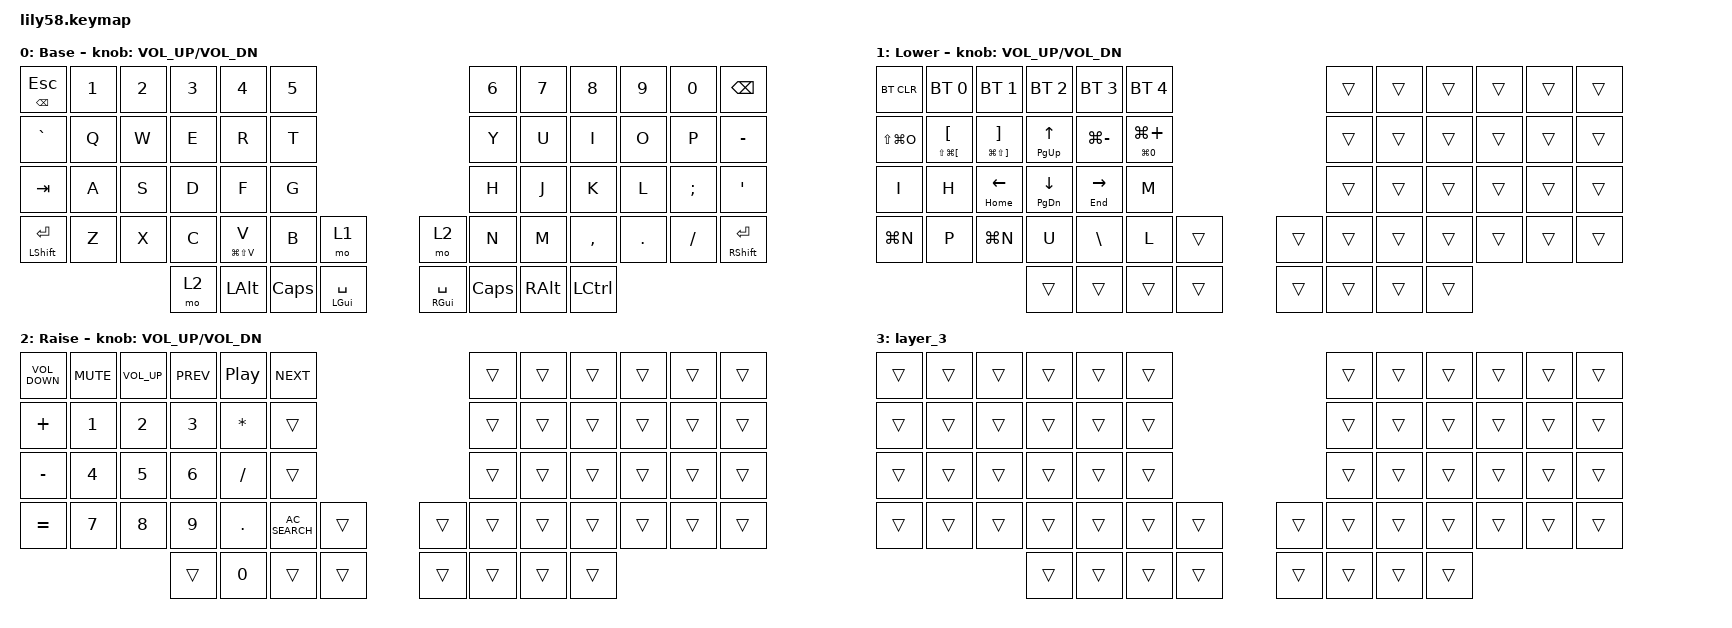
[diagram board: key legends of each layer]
/*
 * Copyright (c) 2020 The ZMK Contributors
 *
 * SPDX-License-Identifier: MIT
 */

#include <behaviors.dtsi>
#include <dt-bindings/zmk/bt.h>
#include <dt-bindings/zmk/keys.h>

/ {
    keymap {
        compatible = "zmk,keymap";

        default_layer {
            // ------------------------------------------------------------------------------------------------------------
            // |  ESC  |  1  |  2  |  3   |  4   |  5   |                   |  6   |  7    |  8    |  9   |   0   |   `   |
            // |  TAB  |  Q  |  W  |  E   |  R   |  T   |                   |  Y   |  U    |  I    |  O   |   P   |   -   |
            // |  CTRL |  A  |  S  |  D   |  F   |  G   |                   |  H   |  J    |  K    |  L   |   ;   |   '   |
            // | SHIFT |  Z  |  X  |  C   |  V   |  B   |   "["  |  |  "]"  |  N   |  M    |  ,    |  .   |   /   | SHIFT |
            //                     | ALT  | GUI  | LOWER|  SPACE |  | ENTER | RAISE| BSPC  | GUI   |

            display-name = "Base";
            bindings = <
&mt BACKSPACE ESCAPE  &kp N1  &kp N2  &kp N3  &kp N4           &kp N5                                               &kp N6    &kp N7         &kp N8            &kp N9   &kp N0    &kp BACKSPACE
&kp GRAVE             &kp Q   &kp W   &kp E   &kp R            &kp T                                                &kp Y     &kp U          &kp I             &kp O    &kp P     &kp MINUS
&kp TAB               &kp A   &kp S   &kp D   &kp F            &kp G                                                &kp H     &kp J          &kp K             &kp L    &kp SEMI  &kp SQT
&mt LSHFT ENTER       &kp Z   &kp X   &kp C   &mt LG(LS(V)) V  &kp B     &mo 1                 &mo 2                &kp N     &kp M          &kp COMMA         &kp DOT  &kp FSLH  &mt RSHFT ENTER
                                      &mo 2   &kp LEFT_ALT     &kp CAPS  &mt LEFT_GUI SPACE    &mt RIGHT_GUI SPACE  &kp CAPS  &kp RIGHT_ALT  &kp LEFT_CONTROL
            >;

            sensor-bindings = <&inc_dec_kp C_VOL_UP C_VOL_DN>;
        };

        lower_layer {
            // ------------------------------------------------------------------------------------------------------------
            // | BTCLR | BT1 | BT2 |  BT3 |  BT4 |  BT5 |                   |      |       |       |      |       |       |
            // |  F1   |  F2 |  F3 |  F4  |  F5  |  F6  |                   |  F7  |  F8   |  F9   |  F10 |  F11  |  F12  |
            // |   `   |  !  |  @  |  #   |  $   |  %   |                   |  ^   |  &    |  *    |  (   |   )   |   ~   |
            // |       |     |     |      |      |      |        |  |       |      |  _    |  +    |  {   |   }   |  "|"  |
            //                     |      |      |      |        |  |       |      |       |       |

            display-name = "Lower";
            bindings = <
&bt BT_CLR     &bt BT_SEL 0                           &bt BT_SEL 1                             &bt BT_SEL 2          &bt BT_SEL 3   &bt BT_SEL 4                           &trans  &trans  &trans  &trans  &trans  &trans
&kp LS(LG(O))  &mt LS(LG(LEFT_BRACKET)) LEFT_BRACKET  &mt LG(LS(RIGHT_BRACKET)) RIGHT_BRACKET  &mt PAGE_UP UP_ARROW  &kp LG(MINUS)  &mt LG(N0) LG(PLUS)                    &trans  &trans  &trans  &trans  &trans  &trans
&kp I          &kp H                                  &mt HOME LEFT                            &mt PAGE_DOWN DOWN    &mt END RIGHT  &kp M                                  &trans  &trans  &trans  &trans  &trans  &trans
&kp LG(N)      &kp P                                  &kp LG(N)                                &kp U                 &kp BACKSLASH  &kp L                &trans    &trans  &trans  &trans  &trans  &trans  &trans  &trans
                                                                                               &trans                &trans         &trans               &trans    &trans  &trans  &trans  &trans
            >;

            sensor-bindings = <&inc_dec_kp C_VOL_UP C_VOL_DN>;
        };

        raise_layer {
            // ------------------------------------------------------------------------------------------------------------
            // |       |     |     |      |      |      |                   |      |       |       |      |       |       |
            // |   `   |  1  |  2  |  3   |  4   |  5   |                   |  6   |   7   |   8   |  9   |   0   |       |
            // |   F1  |  F2 |  F3 |  F4  |  F5  |  F6  |                   |      |   <-  |   v   |  ^   |  ->   |       |
            // |   F7  |  F8 |  F9 |  F10 |  F11 |  F12 |        |  |       |  +   |   -   |   =   |  [   |   ]   |   \   |
            //                     |      |      |      |        |  |       |      |       |       |

            display-name = "Raise";
            bindings = <
&kp C_VOLUME_DOWN  &kp C_MUTE    &kp C_VOLUME_UP  &kp C_PREV    &kp C_PP      &kp C_NEXT                         &trans  &trans  &trans  &trans  &trans  &trans
&kp PLUS           &kp NUMBER_1  &kp NUMBER_2     &kp NUMBER_3  &kp ASTERISK  &trans                             &trans  &trans  &trans  &trans  &trans  &trans
&kp MINUS          &kp NUMBER_4  &kp NUMBER_5     &kp NUMBER_6  &kp SLASH     &trans                             &trans  &trans  &trans  &trans  &trans  &trans
&kp EQUAL          &kp NUMBER_7  &kp NUMBER_8     &kp NUMBER_9  &kp PERIOD    &kp C_AC_SEARCH  &trans    &trans  &trans  &trans  &trans  &trans  &trans  &trans
                                                  &trans        &kp NUMBER_0  &trans           &trans    &trans  &trans  &trans  &trans
            >;

            sensor-bindings = <&inc_dec_kp C_VOL_UP C_VOL_DN>;
        };

        layer_3 {
            bindings = <
&trans  &trans  &trans  &trans  &trans  &trans                    &trans  &trans  &trans  &trans  &trans  &trans
&trans  &trans  &trans  &trans  &trans  &trans                    &trans  &trans  &trans  &trans  &trans  &trans
&trans  &trans  &trans  &trans  &trans  &trans                    &trans  &trans  &trans  &trans  &trans  &trans
&trans  &trans  &trans  &trans  &trans  &trans  &trans    &trans  &trans  &trans  &trans  &trans  &trans  &trans
                        &trans  &trans  &trans  &trans    &trans  &trans  &trans  &trans
            >;
        };
    };
};
